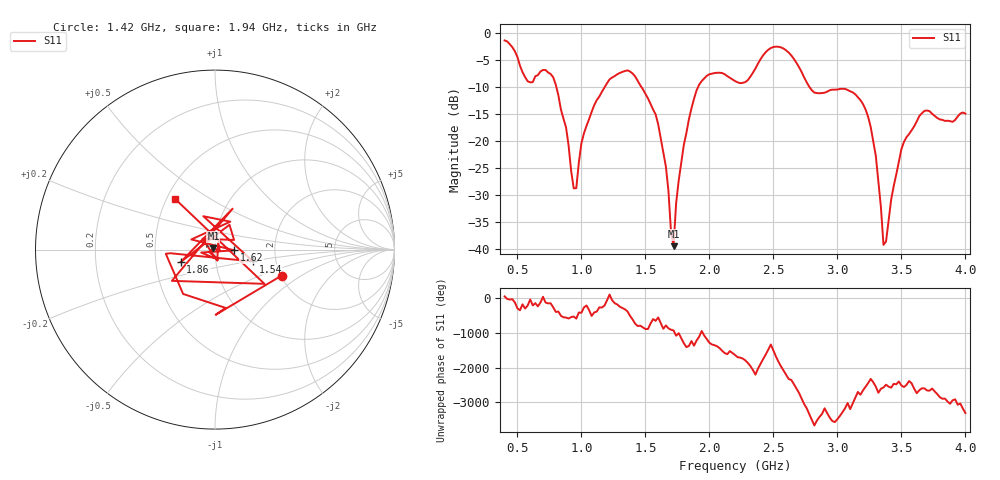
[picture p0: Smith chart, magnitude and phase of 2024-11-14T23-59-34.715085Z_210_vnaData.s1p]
!Created with skrf (http://scikit-rf.org).
# Hz S RI R 50.0
!freq ReS11 ImS11
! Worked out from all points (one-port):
!   181 points, 400 MHz to 4 GHz, reference 50 ohm
!   lowest |S11| = -39.4 dB at 1.72 GHz (marker M1), VSWR 1.02, Z = 49.1 + j0.617 ohm
!   |S11| at or under -10 dB: 804.9 MHz to 1.181 GHz (376 MHz wide, 37.9 % of centre); 1.471 GHz to 1.91 GHz (439.9 MHz wide, 26 % of centre); 2.784 GHz to end of sweep
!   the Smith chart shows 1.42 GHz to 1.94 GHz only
!   S11 on the Smith chart (normalised r, x): 1.42 GHz: 2.02, -0.70; 1.54 GHz: 1.52, -0.21; 1.62 GHz: 1.24, -0.01; 1.86 GHz: 0.67, -0.10; 1.94 GHz: 0.55, +0.36
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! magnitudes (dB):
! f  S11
! 400 MHz  -1.3
! 580 MHz  -8.9
! 780 MHz  -8.2
! 860 MHz  -15.8
! 960 MHz  -28.7
! 1 GHz  -20.4
! 1.08 GHz  -14.5
! 1.3 GHz  -7.3
! 1.42 GHz  -8.0
! 1.54 GHz  -13.1
! 1.62 GHz  -19.5
! 1.66 GHz  -24.7
! 1.72 GHz  -39.4
! 1.76 GHz  -27.3
! 1.86 GHz  -13.9
! 1.94 GHz  -8.8
! 2.2 GHz  -8.8
! 2.5 GHz  -2.5
! 2.66 GHz  -4.7
! 2.82 GHz  -11.0
! 3.1 GHz  -10.7
! 3.26 GHz  -17.3
! 3.3 GHz  -22.7
! 3.36 GHz  -39.2
! 3.5 GHz  -21.5
! 3.56 GHz  -18.6
! 3.68 GHz  -14.4
! 4 GHz  -14.9
